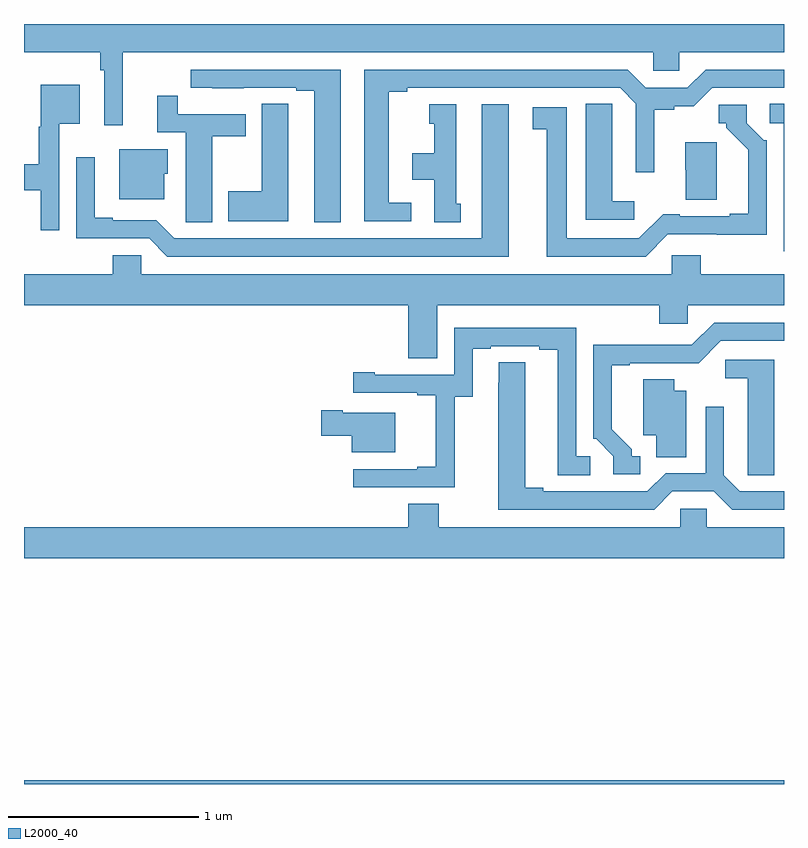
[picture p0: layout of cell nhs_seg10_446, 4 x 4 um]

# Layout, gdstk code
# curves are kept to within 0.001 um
import gdstk
lib = gdstk.Library(unit=1e-6, precision=1e-09)
def R(c, l, rs):  # rectangles x0, y0, x1, y1
    for r in rs: c.add(gdstk.rectangle(r[:2], r[2:], *l))
def P(c, l, *ps):  # polygons
    for p in ps: c.add(gdstk.Polygon(p, *l))
L2000_40 = (2000, 40)

nhs_seg10_446 = lib.new_cell('nhs_seg10_446')
R(nhs_seg10_446, L2000_40, [(133,1260.5,137,1260.52)])
P(nhs_seg10_446, L2000_40, [(133.52,1264.352),(136.311,1264.352),(136.311,1264.254),(136.449,1264.254),(136.449,1264.352),(137,1264.352),(137,1264.5),(133,1264.5),(133,1264.352),(133.402,1264.352),(133.402,1264.256),(133.422,1264.256),(133.422,1263.966),(133.52,1263.966)],
  [(135.037,1263.558),(134.92,1263.558),(134.92,1264.144),(135.016,1264.144),(135.016,1264.164),(136.137,1264.164),(136.221,1264.08),(136.221,1263.72),(136.318,1263.72),(136.318,1264.048),(136.422,1264.048),(136.422,1264.067),(136.526,1264.067),(136.623,1264.164),(137,1264.164),(137,1264.26),(136.587,1264.26),(136.491,1264.164),(136.273,1264.164),(136.177,1264.26),(134.792,1264.26),(134.792,1263.462),(135.037,1263.462)],
  [(134.668,1264.26),(133.878,1264.26),(133.878,1264.164),(133.99,1264.164),(133.99,1264.163),(134.156,1264.163),(134.156,1264.164),(134.432,1264.164),(134.432,1264.149),(134.528,1264.149),(134.528,1263.457),(134.668,1263.457)],
  [(133.185,1263.974),(133.294,1263.974),(133.294,1264.18),(133.088,1264.18),(133.088,1263.96),(133.077,1263.96),(133.077,1263.761),(133,1263.761),(133,1263.626),(133.088,1263.626),(133.088,1263.414),(133.185,1263.414)],
  [(133.99,1263.91),(134.167,1263.91),(134.167,1264.026),(133.808,1264.026),(133.808,1264.123),(133.7,1264.123),(133.7,1263.93),(133.85,1263.93),(133.85,1263.568),(133.851,1263.568),(133.851,1263.457),(133.99,1263.457)],
  [(134.392,1263.971),(134.391,1263.971),(134.391,1264.079),(134.252,1264.079),(134.252,1263.621),(134.075,1263.621),(134.075,1263.461),(134.392,1263.461)],
  [(136.213,1263.568),(136.096,1263.568),(136.096,1263.971),(136.095,1263.971),(136.095,1264.079),(135.956,1264.079),(135.956,1263.471),(136.213,1263.471)],
  [(137,1264.079),(136.926,1264.079),(136.926,1263.978),(136.998,1263.978),(136.998,1263.303),(137,1263.303)],
  [(135.55,1264.078),(135.41,1264.078),(135.41,1263.372),(133.791,1263.372),(133.695,1263.468),(133.468,1263.468),(133.468,1263.481),(133.372,1263.481),(133.372,1263.799),(133.275,1263.799),(133.275,1263.372),(133.659,1263.372),(133.755,1263.276),(135.55,1263.276)],
  [(135.298,1263.555),(135.274,1263.555),(135.274,1264.078),(135.134,1264.078),(135.134,1263.975),(135.158,1263.975),(135.158,1263.82),(135.044,1263.82),(135.044,1263.68),(135.158,1263.68),(135.158,1263.457),(135.298,1263.457)],
  [(136.389,1263.393),(136.908,1263.392),(136.908,1263.888),(136.893,1263.888),(136.803,1263.978),(136.803,1264.074),(136.656,1264.074),(136.656,1263.978),(136.695,1263.978),(136.695,1263.955),(136.811,1263.838),(136.811,1263.502),(136.715,1263.502),(136.715,1263.489),(136.45,1263.489),(136.45,1263.5),(136.364,1263.5),(136.236,1263.372),(135.856,1263.372),(135.856,1264.062),(135.678,1264.062),(135.678,1263.946),(135.752,1263.946),(135.752,1263.276),(136.272,1263.276)],
  [(136.645,1263.877),(136.481,1263.877),(136.481,1263.732),(136.483,1263.732),(136.483,1263.574),(136.645,1263.574)],
  [(133.738,1263.711),(133.756,1263.711),(133.756,1263.841),(133.502,1263.841),(133.502,1263.578),(133.738,1263.578)],
  [(135.175,1263.02),(136.343,1263.02),(136.343,1262.922),(136.494,1262.922),(136.494,1263.02),(137,1263.02),(137,1263.184),(136.562,1263.184),(136.562,1263.282),(136.41,1263.282),(136.41,1263.184),(133.617,1263.184),(133.617,1263.282),(133.466,1263.282),(133.466,1263.184),(133,1263.184),(133,1263.02),(135.023,1263.02),(135.023,1262.74),(135.175,1262.74)],
  [(136.243,1262.226),(136.198,1262.226),(136.198,1262.261),(136.093,1262.366),(136.093,1262.703),(136.189,1262.703),(136.189,1262.715),(136.55,1262.714),(136.668,1262.832),(137,1262.832),(137,1262.928),(136.632,1262.928),(136.515,1262.811),(136.259,1262.811),(136.259,1262.813),(135.996,1262.813),(135.996,1262.316),(136.011,1262.316),(136.101,1262.226),(136.101,1262.13),(136.243,1262.13)],
  [(135.267,1262.539),(135.361,1262.539),(135.361,1262.79),(135.457,1262.79),(135.457,1262.805),(135.713,1262.805),(135.713,1262.785),(135.809,1262.785),(135.809,1262.125),(135.979,1262.125),(135.979,1262.226),(135.906,1262.226),(135.906,1262.901),(135.264,1262.901),(135.264,1262.655),(134.845,1262.655),(134.845,1262.668),(134.733,1262.668),(134.733,1262.559),(135.071,1262.559),(135.071,1262.547),(135.167,1262.547),(135.167,1262.17),(135.071,1262.17),(135.071,1262.157),(134.733,1262.157),(134.733,1262.061),(135.267,1262.061)],
  [(136.948,1262.733),(136.692,1262.733),(136.692,1262.636),(136.808,1262.636),(136.808,1262.233),(136.809,1262.233),(136.809,1262.125),(136.948,1262.125)],
  [(136.413,1262.04),(136.631,1262.04),(136.727,1261.944),(137,1261.944),(137,1262.04),(136.767,1262.04),(136.683,1262.124),(136.683,1262.485),(136.587,1262.485),(136.587,1262.136),(136.377,1262.136),(136.281,1262.04),(135.733,1262.04),(135.733,1262.06),(135.637,1262.06),(135.637,1262.72),(135.498,1262.72),(135.497,1261.944),(136.317,1261.944)],
  [(136.486,1262.569),(136.423,1262.569),(136.423,1262.63),(136.259,1262.63),(136.259,1262.336),(136.328,1262.336),(136.328,1262.221),(136.486,1262.221)],
  [(134.953,1262.455),(134.677,1262.455),(134.677,1262.468),(134.565,1262.468),(134.565,1262.333),(134.726,1262.333),(134.726,1262.246),(134.953,1262.246)],
  [(137,1261.852),(136.593,1261.852),(136.593,1261.95),(136.455,1261.95),(136.455,1261.852),(135.183,1261.852),(135.183,1261.976),(135.023,1261.976),(135.023,1261.852),(133,1261.852),(133,1261.688),(137,1261.688)])

lib.write_gds('nhs_seg10_446.gds')
